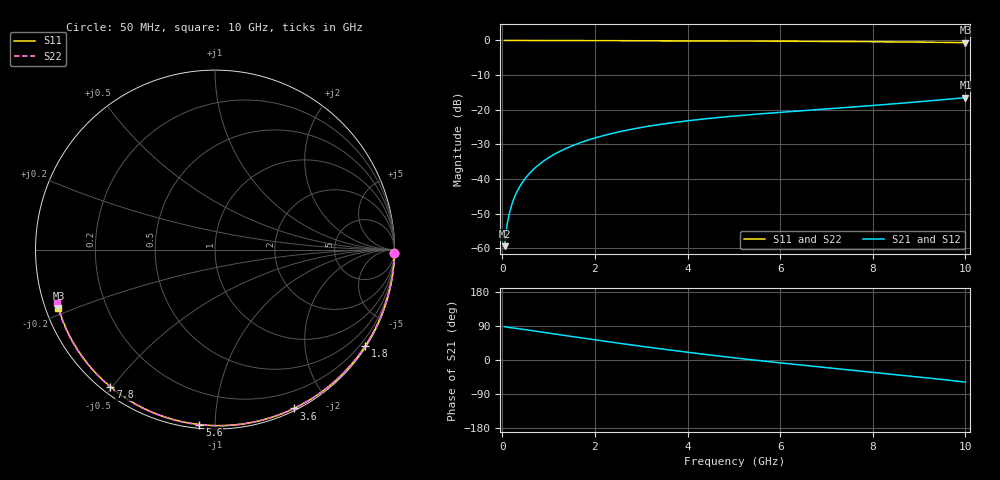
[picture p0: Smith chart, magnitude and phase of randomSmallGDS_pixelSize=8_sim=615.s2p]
! freq	dB(S11)	phase(S11)	dB(S12)	phase(S12)
!  dB(S21)	phase(S21)	dB(S22)	phase(S22)
!S-par simulation data
#  GHz  S  DB  R 50
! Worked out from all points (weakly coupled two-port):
!   200 points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, 50 MHz to 10 GHz, reference 50 ohm
!   highest |S21| = -16.50 dB at 10 GHz (marker M1); lowest = -59.3 dB at 50 MHz (marker M2)
!   lowest |S11| = -0.6 dB at 10 GHz (marker M3), VSWR 27.76, Z = 1.86 - j8.99 ohm
!   |S11| at or under -10 dB: nowhere
!   |S22| runs from -0.6 to 0.0 dB; largest |S21 - S12| = 0
!   S11 on the Smith chart (normalised r, x): 50 MHz: open; 1.8 GHz: 0.03, -3.41; 3.6 GHz: 0.02, -1.61; 5.6 GHz: 0.02, -0.91; 7.8 GHz: 0.02, -0.49; 10 GHz: 0.04, -0.18
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0.05  -0.00 -0.9  -59.34 88.0  -59.34 88.0  -0.00 -1.0
0.1  -0.00 -1.9  -53.44 86.7  -53.44 86.7  -0.00 -1.9
0.15  -0.00 -2.8  -50.01 85.8  -50.01 85.8  -0.00 -2.9
0.2  -0.00 -3.7  -47.57 85.0  -47.57 85.0  -0.00 -3.8
0.35  -0.00 -6.5  -42.79 82.5  -42.79 82.5  -0.01 -6.7
0.5  -0.01 -9.2  -39.73 80.0  -39.73 80.0  -0.01 -9.5
0.7  -0.02 -12.9  -36.85 76.5  -36.85 76.5  -0.02 -13.3
1  -0.02 -18.3  -33.82 71.1  -33.82 71.1  -0.02 -18.9
1.35  -0.03 -24.7  -31.31 64.8  -31.31 64.8  -0.04 -25.4
1.75  -0.05 -31.8  -29.19 57.6  -29.19 57.6  -0.05 -32.7
1.8  -0.05 -32.7  -28.96 56.7  -28.96 56.7  -0.05 -33.6
2.6  -0.07 -46.7  -26.13 42.9  -26.13 42.9  -0.07 -47.9
3.4  -0.10 -60.2  -24.23 29.8  -24.23 29.8  -0.10 -61.8
3.6  -0.10 -63.5  -23.85 26.6  -23.85 26.6  -0.10 -65.2
4.3  -0.13 -74.9  -22.72 16.0  -22.72 16.0  -0.13 -76.7
5.05  -0.16 -86.7  -21.75 5.2  -21.75 5.2  -0.16 -88.7
5.6  -0.19 -95.1  -21.15 -2.3  -21.15 -2.3  -0.19 -97.2
6.7  -0.25 -111.4  -20.05 -16.4  -20.05 -16.4  -0.26 -113.6
7.8  -0.34 -127.4  -18.97 -29.9  -18.97 -29.9  -0.35 -129.5
8.35  -0.40 -135.3  -18.39 -36.7  -18.39 -36.7  -0.40 -137.4
9.2  -0.51 -147.6  -17.45 -47.5  -17.45 -47.5  -0.51 -149.5
10  -0.63 -159.6  -16.50 -58.2  -16.50 -58.2  -0.62 -161.2
